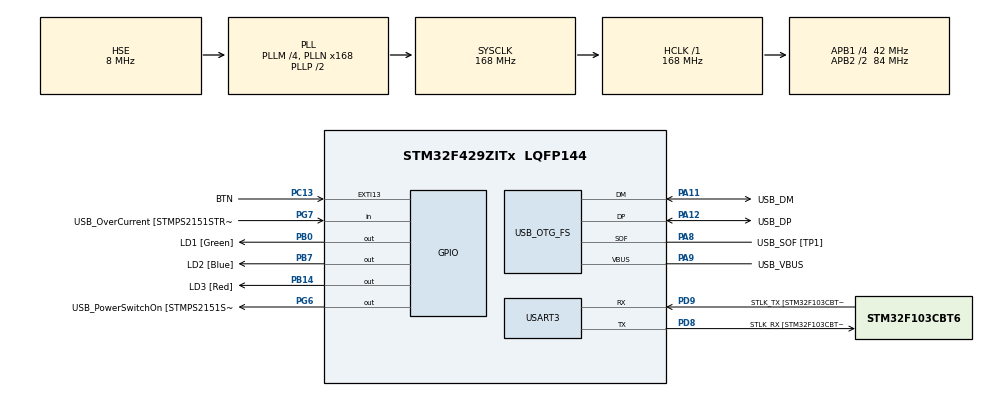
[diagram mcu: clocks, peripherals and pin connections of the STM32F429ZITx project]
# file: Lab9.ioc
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Mcu.Family=STM32F4
Mcu.Name=STM32F429ZITx
Mcu.Package=LQFP144
NVIC.OTG_FS_IRQn=true\:0\:0\:false\:false\:true\:false\:true
NVIC.PriorityGroup=NVIC_PRIORITYGROUP_4
PA1.GPIO_Label=RMII_REF_CLK [LAN8742A-CZ-TR_REFCLK0]
PA1.Signal=ETH_REF_CLK
PA10.GPIO_Label=USB_ID
PA10.Signal=USB_OTG_FS_ID
PA11.GPIO_Label=USB_DM
PA11.Mode=Device_Only
PA11.Signal=USB_OTG_FS_DM
PA12.GPIO_Label=USB_DP
PA12.Mode=Device_Only
PA12.Signal=USB_OTG_FS_DP
PA13.GPIO_Label=TMS
PA13.Mode=Serial_Wire
PA13.Signal=SYS_JTMS-SWDIO
PA14.GPIO_Label=TCK
PA14.Mode=Serial_Wire
PA14.Signal=SYS_JTCK-SWCLK
PA2.GPIO_Label=RMII_MDIO [LAN8742A-CZ-TR_MDIO]
PA2.Signal=ETH_MDIO
PA7.GPIO_Label=RMII_CRS_DV [LAN8742A-CZ-TR_CRS_DV]
PA7.Signal=ETH_CRS_DV
PA8.GPIO_Label=USB_SOF [TP1]
PA8.Mode=Activate_SOF_FS
PA8.Signal=USB_OTG_FS_SOF
PA9.GPIO_Label=USB_VBUS
PA9.Mode=Activate_VBUS
PA9.Signal=USB_OTG_FS_VBUS
PB0.GPIO_Label=LD1 [Green]
PB0.Signal=GPIO_Output
PB13.GPIO_Label=RMII_TXD1 [LAN8742A-CZ-TR_TXD1]
PB13.Signal=ETH_TXD1
PB14.GPIO_Label=LD3 [Red]
PB14.Signal=GPIO_Output
PB7.GPIO_Label=LD2 [Blue]
PB7.Signal=GPIO_Output
PC1.GPIO_Label=RMII_MDC [LAN8742A-CZ-TR_MDC]
PC1.Signal=ETH_MDC
PC13.GPIO_Label=BTN
PC13.Signal=GPXTI13
PC14/OSC32_IN.Mode=LSE-External-Oscillator
PC14/OSC32_IN.Signal=RCC_OSC32_IN
PC15/OSC32_OUT.Mode=LSE-External-Oscillator
PC15/OSC32_OUT.Signal=RCC_OSC32_OUT
PC4.GPIO_Label=RMII_RXD0 [LAN8742A-CZ-TR_RXD0]
PC4.Signal=ETH_RXD0
PC5.GPIO_Label=RMII_RXD1 [LAN8742A-CZ-TR_RXD1]
PC5.Signal=ETH_RXD1
PD8.GPIO_Label=STLK_RX [STM32F103CBT6_PA3]
PD8.Mode=Asynchronous
PD8.Signal=USART3_TX
PD9.GPIO_Label=STLK_TX [STM32F103CBT6_PA2]
PD9.Mode=Asynchronous
PD9.Signal=USART3_RX
PG11.GPIO_Label=RMII_TX_EN [LAN8742A-CZ-TR_TXEN]
PG11.Signal=ETH_TX_EN
PG13.GPIO_Label=RMII_TXD0 [LAN8742A-CZ-TR_TXD0]
PG13.Signal=ETH_TXD0
PG6.GPIO_Label=USB_PowerSwitchOn [STMPS2151STR_EN]
PG6.Signal=GPIO_Output
PG7.GPIO_Label=USB_OverCurrent [STMPS2151STR_FAULT]
PG7.Signal=GPIO_Input
PH0/OSC_IN.GPIO_Label=MCO [STM32F103CBT6_PA8]
PH0/OSC_IN.Mode=HSE-External-Clock-Source
PH0/OSC_IN.Signal=RCC_OSC_IN
PH1/OSC_OUT.Mode=HSE-External-Clock-Source
PH1/OSC_OUT.Signal=RCC_OSC_OUT
ProjectManager.HeapSize=0x200
ProjectManager.StackSize=0x400
ProjectManager.TargetToolchain=STM32CubeIDE
RCC.48MHZClocksFreq_Value=48000000
RCC.AHBFreq_Value=168000000
RCC.APB1CLKDivider=RCC_HCLK_DIV4
RCC.APB1Freq_Value=42000000
RCC.APB1TimFreq_Value=84000000
RCC.APB2CLKDivider=RCC_HCLK_DIV2
RCC.APB2Freq_Value=84000000
RCC.APB2TimCLKDivider=2
RCC.APB2TimFreq_Value=168000000
RCC.CortexFreq_Value=168000000
RCC.HCLKFreq_Value=168000000
RCC.HSE_VALUE=8000000
RCC.HSI_VALUE=16000000
RCC.PLLM=4
RCC.PLLMUL=RCC_PLL_MUL9
RCC.PLLN=168
RCC.PLLQ=7
RCC.PRESCALERUSB=RCC_USBCLKSOURCE_PLL_DIV1_5
RCC.SYSCLKFreq_VALUE=168000000
RCC.SYSCLKSource=RCC_SYSCLKSOURCE_PLLCLK
RCC.SYSCLKSourceVirtual=RCC_SYSCLKSOURCE_PLLCLK
RCC.USBFreq_Value=48000000
RCC.VCOOutputFreq_Value=336000000
USART3.VirtualMode=VM_ASYNC
USB_DEVICE.CLASS_NAME_FS=HID
USB_DEVICE.VirtualMode-HID_FS=Hid
USB_DEVICE.VirtualModeFS=Hid_FS
USB_OTG_FS.VirtualMode=Device_Only
VP_USB_DEVICE_VS_USB_DEVICE_HID_FS.Mode=HID_FS
board=NUCLEO-F429ZI

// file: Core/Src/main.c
/* USER CODE BEGIN Header */
/**
  ******************************************************************************
  * @file           : main.c
  * @brief          : Main program body
  ******************************************************************************
  * @attention
  *
  * <h2><center>&copy; Copyright (c) 2021 STMicroelectronics.
  * All rights reserved.</center></h2>
  *
  * This software component is licensed by ST under BSD 3-Clause license,
  * the "License"; You may not use this file except in compliance with the
  * License. You may obtain a copy of the License at:
  *                        opensource.org/licenses/BSD-3-Clause
  *
  ******************************************************************************
  */
/* USER CODE END Header */
#include "main.h"
#include "usb_device.h"

/* USER CODE BEGIN Includes */
#include "usbd_hid.h"
extern USBD_HandleTypeDef hUsbDeviceFS;
#include <math.h>

/* USER CODE END Includes */

/* USER CODE BEGIN PD */
#define PI 3.141592654
/* USER CODE END PD */

UART_HandleTypeDef huart3;

void SystemClock_Config(void);
static void MX_GPIO_Init(void);
static void MX_USART3_UART_Init(void);
void circle(uint8_t r);
void half_circle(uint8_t r);
void step(int32_t dx, int32_t dy, int8_t mys);

/* USER CODE BEGIN 0 */
void circle(uint8_t r)
{
	  float x = r;
	  float y = 0;

	  int32_t sx;
	  int32_t sy;
	  int32_t dx;
	  int32_t dy;

	for(uint16_t phi= 0; phi<=360; phi = phi + 5)
	{
	 	  sx = x;
		  sy = y;

		  x = r*cos(phi*PI/180);
		  y = r*sin(phi*PI/180);

		  dx = x-sx;
		  dy = y-sy;

		  step(dx,dy,0x01);
	}

	x = 0;
	y = 0;
	step(x,y,0x00);
}

void half_circle(uint8_t r)
{
	  float x = r;
	  float y = 0;

	  int32_t sx;
	  int32_t sy;
	  int32_t dx;
	  int32_t dy;

	for(uint16_t phi= 0; phi<=180; phi = phi + 5)
	{
	 	  sx = x;
		  sy = y;

		  x = r*cos(phi*PI/180);
		  y = r*sin(phi*PI/180);

		  dx = x-sx;
		  dy = y-sy;

		  step(dx,dy,0x01);
	}

	x = 0;
	y = 0;
	step(x,y,0x00);
}

void step(int32_t dx, int32_t dy, int8_t mys)
{
	uint8_t buff[4];
	buff[0] = mys; // stiskni leve tlacitko 0x01
	buff[1] = (int8_t)(dx);
	buff[2] = (int8_t)(dy);
	buff[3] = 0; // bez scrollu

	USBD_HID_SendReport(&hUsbDeviceFS, buff, sizeof(buff));
	HAL_Delay(USBD_HID_GetPollingInterval(&hUsbDeviceFS));
}

//void smiley()
//{
//	uint8_t r = 200;
//	int32_t x = -50;
//	int32_t y = -20;
//	int8_t mys = 0x00;
//
//	circle(r);
////	step(x=-50; y=-20; mys=0x00;);
//	step(x,y,mys);
//	step(x,y,mys);

//}

/* USER CODE END 0 */

int main(void)
{

  /* MCU Configuration--------------------------------------------------------*/

  /* Reset of all peripherals, Initializes the Flash interface and the Systick. */
  HAL_Init();

  /* Configure the system clock */
  SystemClock_Config();

  /* Initialize all configured peripherals */
  MX_GPIO_Init();
  MX_USART3_UART_Init();
  MX_USB_DEVICE_Init();

  /* Infinite loop */
  while (1)
  {

    /* USER CODE BEGIN 3 */

	  if (HAL_GPIO_ReadPin(BTN_GPIO_Port,BTN_Pin)==1)
	  {
		  uint8_t r = 100;
		  uint8_t r1 = 30;
		  int32_t x = -25;
		  int32_t y = -20;
		  int8_t mys = 0x00;
		  int32_t x1 = -50;
		  int32_t y1 = 0;
		  uint8_t buff[4];

//		  buff[0] = 0x01; // stiskni leve tlacitko 0x01
//		  buff[1] = (int8_t)(-40);
//		  buff[2] = (int8_t)(0);
//		  buff[3] = 0; // bez scrollu
//		  USBD_HID_SendReport(&hUsbDeviceFS, buff, sizeof(buff));
//		  HAL_Delay(USBD_HID_GetPollingInterval(&hUsbDeviceFS));

		  circle(r);

		  step(x,y,mys);

		  circle(r1);

		  step(x1,y1,mys);

		  circle(r1);

		  step(45,30,mys);

		  half_circle(60);

		  step(-25,-30,0x00);

		  step(0,0,0x01);
		  step(45,30,0x01);
		  step(0,0,0x00);

	  }
//		  for(uint16_t phi= 0; phi<360; phi = phi + 5)
//		  {
//			  x = r*cos(phi*PI/180);
//			  y = r*sin(phi*PI/180);
//
//			  buff[0] = 0x01; // stiskni leve tlacitko 0x01
//			  buff[1] = (int8_t)(x);
//			  buff[2] = (int8_t)(y);
//			  buff[3] = 0; // bez scrollu
//			  USBD_HID_SendReport(&hUsbDeviceFS, buff, sizeof(buff));
//			  HAL_Delay(USBD_HID_GetPollingInterval(&hUsbDeviceFS));
//		  }
//
	  if (HAL_GPIO_ReadPin(BTN_GPIO_Port,BTN_Pin)==1)
	  {

	  }

  }
  /* USER CODE END 3 */
}

void SystemClock_Config(void)
{
  RCC_OscInitTypeDef RCC_OscInitStruct = {0};
  RCC_ClkInitTypeDef RCC_ClkInitStruct = {0};

  /** Configure the main internal regulator output voltage
  */
  __HAL_RCC_PWR_CLK_ENABLE();
  __HAL_PWR_VOLTAGESCALING_CONFIG(PWR_REGULATOR_VOLTAGE_SCALE1);
  /** Initializes the RCC Oscillators according to the specified parameters
  * in the RCC_OscInitTypeDef structure.
  */
  RCC_OscInitStruct.OscillatorType = RCC_OSCILLATORTYPE_HSE;
  RCC_OscInitStruct.HSEState = RCC_HSE_BYPASS;
  RCC_OscInitStruct.PLL.PLLState = RCC_PLL_ON;
  RCC_OscInitStruct.PLL.PLLSource = RCC_PLLSOURCE_HSE;
  RCC_OscInitStruct.PLL.PLLM = 4;
  RCC_OscInitStruct.PLL.PLLN = 168;
  RCC_OscInitStruct.PLL.PLLP = RCC_PLLP_DIV2;
  RCC_OscInitStruct.PLL.PLLQ = 7;
  if (HAL_RCC_OscConfig(&RCC_OscInitStruct) != HAL_OK)
  {
    Error_Handler();
  }
  /** Initializes the CPU, AHB and APB buses clocks
  */
  RCC_ClkInitStruct.ClockType = RCC_CLOCKTYPE_HCLK|RCC_CLOCKTYPE_SYSCLK
                              |RCC_CLOCKTYPE_PCLK1|RCC_CLOCKTYPE_PCLK2;
  RCC_ClkInitStruct.SYSCLKSource = RCC_SYSCLKSOURCE_PLLCLK;
  RCC_ClkInitStruct.AHBCLKDivider = RCC_SYSCLK_DIV1;
  RCC_ClkInitStruct.APB1CLKDivider = RCC_HCLK_DIV4;
  RCC_ClkInitStruct.APB2CLKDivider = RCC_HCLK_DIV2;

  if (HAL_RCC_ClockConfig(&RCC_ClkInitStruct, FLASH_LATENCY_5) != HAL_OK)
  {
    Error_Handler();
  }
}

static void MX_USART3_UART_Init(void)
{

  huart3.Instance = USART3;
  huart3.Init.BaudRate = 115200;
  huart3.Init.WordLength = UART_WORDLENGTH_8B;
  huart3.Init.StopBits = UART_STOPBITS_1;
  huart3.Init.Parity = UART_PARITY_NONE;
  huart3.Init.Mode = UART_MODE_TX_RX;
  huart3.Init.HwFlowCtl = UART_HWCONTROL_NONE;
  huart3.Init.OverSampling = UART_OVERSAMPLING_16;
  if (HAL_UART_Init(&huart3) != HAL_OK)
  {
    Error_Handler();
  }

}

static void MX_GPIO_Init(void)
{
  GPIO_InitTypeDef GPIO_InitStruct = {0};

  /* GPIO Ports Clock Enable */
  __HAL_RCC_GPIOC_CLK_ENABLE();
  __HAL_RCC_GPIOH_CLK_ENABLE();
  __HAL_RCC_GPIOA_CLK_ENABLE();
  __HAL_RCC_GPIOB_CLK_ENABLE();
  __HAL_RCC_GPIOD_CLK_ENABLE();
  __HAL_RCC_GPIOG_CLK_ENABLE();

  /*Configure GPIO pin Output Level */
  HAL_GPIO_WritePin(GPIOB, LD1_Pin|LD3_Pin|LD2_Pin, GPIO_PIN_RESET);

  /*Configure GPIO pin Output Level */
  HAL_GPIO_WritePin(USB_PowerSwitchOn_GPIO_Port, USB_PowerSwitchOn_Pin, GPIO_PIN_RESET);

  /*Configure GPIO pin : BTN_Pin */
  GPIO_InitStruct.Pin = BTN_Pin;
  GPIO_InitStruct.Mode = GPIO_MODE_IT_RISING;
  GPIO_InitStruct.Pull = GPIO_NOPULL;
  HAL_GPIO_Init(BTN_GPIO_Port, &GPIO_InitStruct);

  /*Configure GPIO pins : RMII_MDC_Pin RMII_RXD0_Pin RMII_RXD1_Pin */
  GPIO_InitStruct.Pin = RMII_MDC_Pin|RMII_RXD0_Pin|RMII_RXD1_Pin;
  GPIO_InitStruct.Mode = GPIO_MODE_AF_PP;
  GPIO_InitStruct.Pull = GPIO_NOPULL;
  GPIO_InitStruct.Speed = GPIO_SPEED_FREQ_VERY_HIGH;
  GPIO_InitStruct.Alternate = GPIO_AF11_ETH;
  HAL_GPIO_Init(GPIOC, &GPIO_InitStruct);

  /*Configure GPIO pins : RMII_REF_CLK_Pin RMII_MDIO_Pin RMII_CRS_DV_Pin */
  GPIO_InitStruct.Pin = RMII_REF_CLK_Pin|RMII_MDIO_Pin|RMII_CRS_DV_Pin;
  GPIO_InitStruct.Mode = GPIO_MODE_AF_PP;
  GPIO_InitStruct.Pull = GPIO_NOPULL;
  GPIO_InitStruct.Speed = GPIO_SPEED_FREQ_VERY_HIGH;
  GPIO_InitStruct.Alternate = GPIO_AF11_ETH;
  HAL_GPIO_Init(GPIOA, &GPIO_InitStruct);

  /*Configure GPIO pins : LD1_Pin LD3_Pin LD2_Pin */
  GPIO_InitStruct.Pin = LD1_Pin|LD3_Pin|LD2_Pin;
  GPIO_InitStruct.Mode = GPIO_MODE_OUTPUT_PP;
  GPIO_InitStruct.Pull = GPIO_NOPULL;
  GPIO_InitStruct.Speed = GPIO_SPEED_FREQ_LOW;
  HAL_GPIO_Init(GPIOB, &GPIO_InitStruct);

  /*Configure GPIO pin : RMII_TXD1_Pin */
  GPIO_InitStruct.Pin = RMII_TXD1_Pin;
  GPIO_InitStruct.Mode = GPIO_MODE_AF_PP;
  GPIO_InitStruct.Pull = GPIO_NOPULL;
  GPIO_InitStruct.Speed = GPIO_SPEED_FREQ_VERY_HIGH;
  GPIO_InitStruct.Alternate = GPIO_AF11_ETH;
  HAL_GPIO_Init(RMII_TXD1_GPIO_Port, &GPIO_InitStruct);

  /*Configure GPIO pin : USB_PowerSwitchOn_Pin */
  GPIO_InitStruct.Pin = USB_PowerSwitchOn_Pin;
  GPIO_InitStruct.Mode = GPIO_MODE_OUTPUT_PP;
  GPIO_InitStruct.Pull = GPIO_NOPULL;
  GPIO_InitStruct.Speed = GPIO_SPEED_FREQ_LOW;
  HAL_GPIO_Init(USB_PowerSwitchOn_GPIO_Port, &GPIO_InitStruct);

  /*Configure GPIO pin : USB_OverCurrent_Pin */
  GPIO_InitStruct.Pin = USB_OverCurrent_Pin;
  GPIO_InitStruct.Mode = GPIO_MODE_INPUT;
  GPIO_InitStruct.Pull = GPIO_NOPULL;
  HAL_GPIO_Init(USB_OverCurrent_GPIO_Port, &GPIO_InitStruct);

  /*Configure GPIO pins : RMII_TX_EN_Pin RMII_TXD0_Pin */
  GPIO_InitStruct.Pin = RMII_TX_EN_Pin|RMII_TXD0_Pin;
  GPIO_InitStruct.Mode = GPIO_MODE_AF_PP;
  GPIO_InitStruct.Pull = GPIO_NOPULL;
  GPIO_InitStruct.Speed = GPIO_SPEED_FREQ_VERY_HIGH;
  GPIO_InitStruct.Alternate = GPIO_AF11_ETH;
  HAL_GPIO_Init(GPIOG, &GPIO_InitStruct);

}

void Error_Handler(void)
{
  __disable_irq();
  while (1)
  {
  }
}

/************************ (C) COPYRIGHT STMicroelectronics *****END OF FILE****/
